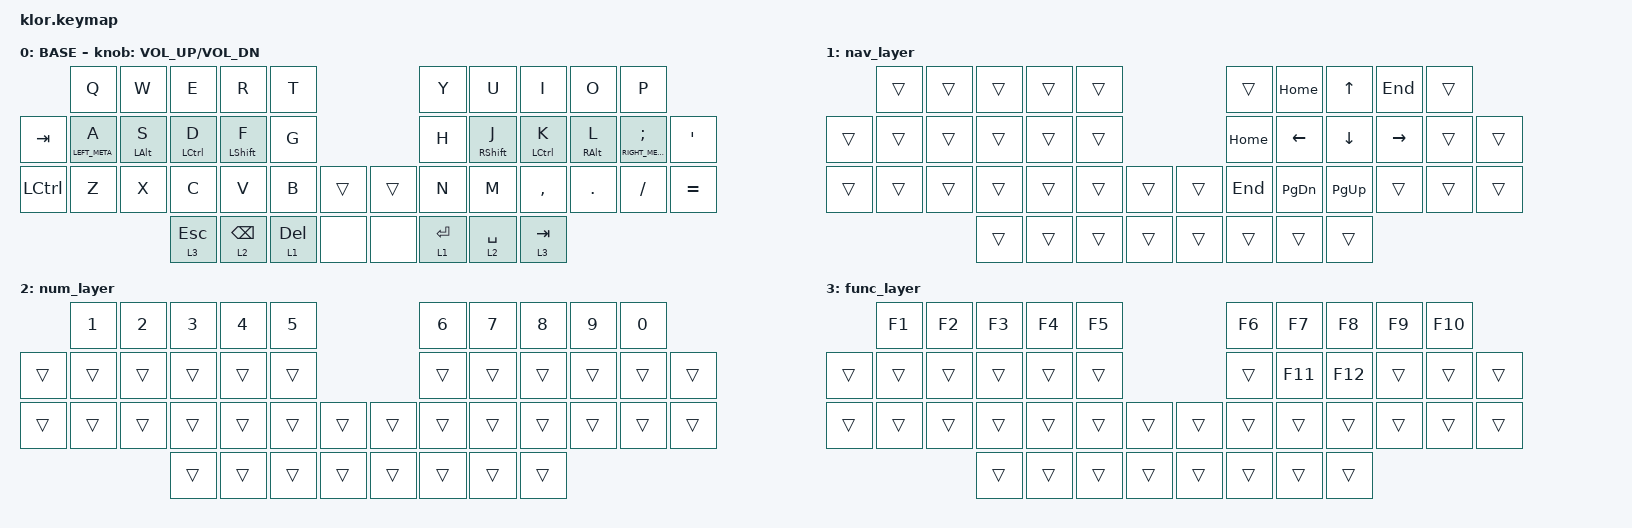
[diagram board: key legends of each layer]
//                               █         █    █            ▄▄▄▀▀▀▀▀▀▄▄▄        █▀▀▀▀▀▀▀▀▀▀█
//                               █        █     █          ▄▀            ▀▄      █          █
//                               █       █      █        ▄▀                ▀▄    █          █
//                               █      █       █        █                  █    █          █
//                               █     █        █       █                    █   █          █
//                               █    █         █       █                    █   █▄▄▄▄▄▄▄▄▄▄█
//                               █   █ █        █       █                    █   █      █
//                               █  █   █       █        █                  █    █       █
//                               █ █     █      █        ▀▄                ▄▀    █        █
//                               ██       █     █          ▀▄            ▄▀      █         █
//                               █         █    █▄▄▄▄▄▄▄▄    ▀▀▀▄▄▄▄▄▄▀▀▀        █          █
//
// ▄▄▄▄▄▄▄▄▄▄▄▄▄▄▄▄▄▄▄▄▄▄▄▄▄▄▄▄▄▄▄▄▄▄▄▄▄▄▄▄▄▄▄▄▄▄▄▄▄▄▄▄▄▄▄▄▄▄▄▄▄▄▄▄▄▄▄▄▄▄▄▄▄▄▄▄▄▄▄▄▄▄▄▄▄▄▄▄▄▄▄▄▄▄▄▄▄▄▄▄▄▄▄▄▄▄▄▄▄▄▄▄▄▄▄▄▄▄▄▄▄▄▄▄▄

#include <behaviors.dtsi>
#include <dt-bindings/zmk/keys.h>

#define BASE   0
#define LOWER  1
#define RAISE  2
#define ADJUST 3

/ {
    combos {
        compatible = "zmk,combos";

        brace_l {
            bindings = <&kp LEFT_BRACE>;
            key-positions = <11 12>;
        };

        brace_r {
            bindings = <&kp RIGHT_BRACE>;
            key-positions = <20 19>;
        };

        bracket_l {
            bindings = <&kp LEFT_BRACKET>;
            key-positions = <12 13>;
        };

        bracket_r {
            bindings = <&kp RIGHT_BRACKET>;
            key-positions = <18 19>;
        };

        paren_l {
            bindings = <&kp LEFT_PARENTHESIS>;
            key-positions = <13 14>;
        };

        paren_r {
            bindings = <&kp RIGHT_PARENTHESIS>;
            key-positions = <17 18>;
        };
    };

    macros {
        undo: undo {
            compatible = "zmk,behavior-macro";
            #binding-cells = <0>;
            bindings = <&kp LCTRL &kp Z>;
            label = "UNDO";
        };

        redo: redo {
            compatible = "zmk,behavior-macro";
            #binding-cells = <0>;
            bindings = <&kp LCTRL &kp LEFT_SHIFT &kp Z>;
            label = "REDO";
        };

        cut: cut {
            compatible = "zmk,behavior-macro";
            #binding-cells = <0>;
            bindings = <&kp RCTRL &kp X>;
            label = "CUT";
        };

        copy: copy {
            compatible = "zmk,behavior-macro";
            #binding-cells = <0>;
            bindings = <&kp LCTRL &kp C>;
            label = "COPY";
        };

        paste: paste {
            compatible = "zmk,behavior-macro";
            #binding-cells = <0>;
            bindings = <&kp LCTRL &kp V>;
            label = "PASTE";
        };
    };

    behaviors {
        hrm_l: hrm_l {
            compatible = "zmk,behavior-hold-tap";
            label = "HRM_L";
            bindings = <&kp>, <&kp>;

            #binding-cells = <2>;
            tapping-term-ms = <280>;
            quick-tap-ms = <175>;
            flavor = "balanced";
            hold-trigger-on-release;
            hold-trigger-key-positions = <5 6 7 5 6 7 8 9 16 17 18 19 20 30 31 32 33 34 41 42 43 38 37 36>;
            require-prior-idle-ms = <150>;
        };

        hrm_r: hrm_r {
            compatible = "zmk,behavior-hold-tap";
            label = "HRM_R";
            bindings = <&kp>, <&kp>;

            #binding-cells = <2>;
            tapping-term-ms = <280>;
            quick-tap-ms = <175>;
            flavor = "balanced";
            hold-trigger-on-release;
            hold-trigger-key-positions = <41 42 43 38 37 36 0 1 2 3 4 11 12 13 14 15 23 24 25 26 27>;
            require-prior-idle-ms = <150>;
        };
    };

    keymap {
        compatible = "zmk,keymap";

        // ▄▄▄▄▄▄▄▄▄▄▄▄▄▄▄▄▄▄▄▄▄▄▄▄▄▄▄▄▄▄▄▄▄▄▄▄▄▄▄▄▄▄▄▄▄▄▄▄▄▄▄▄▄▄▄▄▄▄▄▄▄▄▄▄▄▄▄▄▄▄▄▄▄▄▄▄▄▄▄▄▄▄▄▄▄▄▄▄▄▄▄▄▄▄▄▄▄▄▄▄▄▄▄▄▄▄▄▄▄▄▄▄▄▄▄▄▄▄▄▄▄▄▄▄▄▄▄▄▄▄▄▄▄▄▄▄▄▄▄▄▄▄

        base_layer {
            // ┌───────────────────────────────────────────────────────────┐

            label = "BASE";

            // └───────────────────────────────────────────────────────────┘
            /*           ┌─────────┬─────────┬─────────┬─────────┬─────────┐                    ┌─────────┬─────────┬─────────┬─────────┬─────────┐
             │    Q    │    W    │    F    │    P    │    G    │                    │    J    │    L    │    U    │    Y    │    ;    │   
   ┌─────────┼─────────┼─────────┼─────────┼─────────┼─────────┤                    ├─────────┼─────────┼─────────┼─────────┼─────────┼─────────┐
   │   TAB   │    A    │    R    │    S    │    T    │    D    │                    │    H    │    N    │    E    │    I    │    O    │    "    │
   ├─────────┼─────────┼─────────┼─────────┼─────────┼─────────┤╭────────╮╭────────╮├─────────┼─────────┼─────────┼─────────┼─────────┼─────────┤
   │   DEL   │    Z    │    X    │    C    │    V    │    B    ││  MUTE  ││PLY/PSE ││    K    │    M    │    ,    │    .    │    /    │    \    │
   └─────────┴─────────┴─────────┼─────────┼─────────┼─────────┼╰────────╯╰────────╯┼─────────┼─────────┼─────────┼─────────┴─────────┴─────────┘
                                 │  CTRL   │  LOWER  │  SPACE  │   ALT   ││ CMD/WIN │  ENTER  │  RAISE  │  BSPCE  │  
                                 └─────────┴─────────┴─────────┴─────────┘└─────────┴─────────┴─────────┴─────────┘ */

            bindings = <
                  &kp Q               &kp W              &kp E                  &kp R                &kp T                         &kp Y      &kp U                 &kp I                  &kp O               &kp P
&kp TAB           &hrm_l LEFT_META A  &hrm_l LEFT_ALT S  &hrm_l LEFT_CONTROL D  &hrm_l LEFT_SHIFT F  &kp G                         &kp H      &hrm_r RIGHT_SHIFT J  &hrm_r LEFT_CONTROL K  &hrm_r RIGHT_ALT L  &hrm_r RIGHT_META SEMICOLON  &kp SQT
&kp LEFT_CONTROL  &kp Z               &kp X              &kp C                  &kp V                &kp B         &trans  &trans  &kp N      &kp M                 &kp COMMA              &kp DOT             &kp FSLH                     &kp EQUAL
                                                         &lt 3 ESCAPE           &lt 2 BACKSPACE      &lt 1 DELETE  &none   &none   &lt 1 RET  &lt 2 SPACE           &lt 3 TAB
            >;

            sensor-bindings = <&inc_dec_kp C_VOL_UP C_VOL_DN>;
        };

        // ▄▄▄▄▄▄▄▄▄▄▄▄▄▄▄▄▄▄▄▄▄▄▄▄▄▄▄▄▄▄▄▄▄▄▄▄▄▄▄▄▄▄▄▄▄▄▄▄▄▄▄▄▄▄▄▄▄▄▄▄▄▄▄▄▄▄▄▄▄▄▄▄▄▄▄▄▄▄▄▄▄▄▄▄▄▄▄▄▄▄▄▄▄▄▄▄▄▄▄▄▄▄▄▄▄▄▄▄▄▄▄▄▄▄▄▄▄▄▄▄▄▄▄▄▄▄▄▄▄▄▄▄▄▄▄▄▄▄▄▄▄▄
        // ▄▄▄▄▄▄▄▄▄▄▄▄▄▄▄▄▄▄▄▄▄▄▄▄▄▄▄▄▄▄▄▄▄▄▄▄▄▄▄▄▄▄▄▄▄▄▄▄▄▄▄▄▄▄▄▄▄▄▄▄▄▄▄▄▄▄▄▄▄▄▄▄▄▄▄▄▄▄▄▄▄▄▄▄▄▄▄▄▄▄▄▄▄▄▄▄▄▄▄▄▄▄▄▄▄▄▄▄▄▄▄▄▄▄▄▄▄▄▄▄▄▄▄▄▄
        // ▄▄▄▄▄▄▄▄▄▄▄▄▄▄▄▄▄▄▄▄▄▄▄▄▄▄▄▄▄▄▄▄▄▄▄▄▄▄▄▄▄▄▄▄▄▄▄▄▄▄▄▄▄▄▄▄▄▄▄▄▄▄▄▄▄▄▄▄▄▄▄▄▄▄▄▄▄▄▄▄▄▄▄▄▄▄▄▄▄▄▄▄▄▄▄▄▄▄▄▄▄▄▄▄▄▄▄▄▄▄▄▄▄▄▄▄▄▄▄▄▄▄▄▄▄

        nav_layer {
            bindings = <
        &trans  &trans  &trans  &trans  &trans                  &trans    &kp HOME       &kp UP_ARROW  &kp END    &trans
&trans  &trans  &trans  &trans  &trans  &trans                  &kp HOME  &kp LEFT       &kp DOWN      &kp RIGHT  &trans  &trans
&trans  &trans  &trans  &trans  &trans  &trans  &trans  &trans  &kp END   &kp PAGE_DOWN  &kp PAGE_UP   &trans     &trans  &trans
                        &trans  &trans  &trans  &trans  &trans  &trans    &trans         &trans
            >;
        };

        num_layer {
            bindings = <
        &kp NUMBER_1  &kp NUMBER_2  &kp NUMBER_3  &kp NUMBER_4  &kp N5                  &kp NUMBER_6  &kp N7  &kp N8  &kp N9  &kp N0
&trans  &trans        &trans        &trans        &trans        &trans                  &trans        &trans  &trans  &trans  &trans  &trans
&trans  &trans        &trans        &trans        &trans        &trans  &trans  &trans  &trans        &trans  &trans  &trans  &trans  &trans
                                    &trans        &trans        &trans  &trans  &trans  &trans        &trans  &trans
            >;
        };

        func_layer {
            bindings = <
        &kp F1  &kp F2  &kp F3  &kp F4  &kp F5                  &kp F6  &kp F7   &kp F8   &kp F9  &kp F10
&trans  &trans  &trans  &trans  &trans  &trans                  &trans  &kp F11  &kp F12  &trans  &trans   &trans
&trans  &trans  &trans  &trans  &trans  &trans  &trans  &trans  &trans  &trans   &trans   &trans  &trans   &trans
                        &trans  &trans  &trans  &trans  &trans  &trans  &trans   &trans
            >;
        };
    };
};
